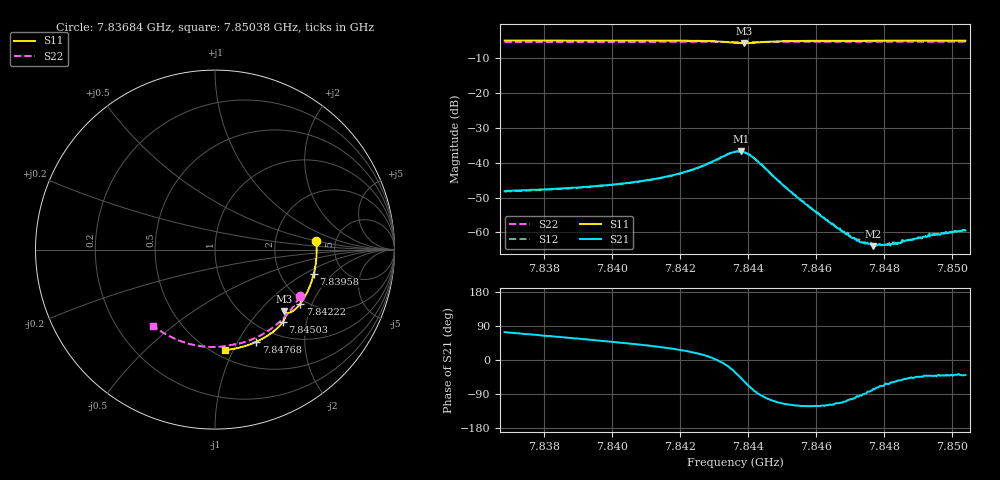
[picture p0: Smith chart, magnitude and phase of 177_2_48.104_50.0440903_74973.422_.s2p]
#  HZ  S  RI  R  50.00
! Rohde & Schwarz Vector Network Analyzer
! Rohde-Schwarz,ZNB20-2Port,1311601062101988,3.16
! Created: UTC 12/23/2023, 3:52:23 AM
! freq[Hz]  re:S11  im:S11  re:S21  im:S21  re:S12  im:S12  re:S22  im:S22
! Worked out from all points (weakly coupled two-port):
!   401 points, 7.83684 GHz to 7.85038 GHz, reference 50 ohm
!   highest |S21| = -36.70 dB at 7.84378 GHz (marker M1); lowest = -63.9 dB at 7.84768 GHz (marker M2)
!   lowest |S11| = -5.7 dB at 7.84388 GHz (marker M3), VSWR 3.14, Z = 73.8 - j69.4 ohm
!   |S11| at or under -10 dB: nowhere
!   |S22| runs from -5.4 to -5.3 dB; largest |S21 - S12| = 0.00029
!   S11 on the Smith chart (normalised r, x): 7.83684 GHz: 3.54, +0.48; 7.83958 GHz: 3.08, -1.23; 7.84222 GHz: 1.87, -1.65; 7.84503 GHz: 1.25, -1.47; 7.84768 GHz: 0.80, -1.20; 7.85038 GHz: 0.57, -0.93
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7.83684e9  0.5642 0.0465  0.0011 0.00375  0.00115 0.00369  0.4723 -0.2603
7.839109e9  0.5572 -0.1042  0.00253 0.00368  0.0025 0.00363  0.3771 -0.3868
7.839583e9  0.5505 -0.1352  0.0029 0.00366  0.00285 0.00359  0.3528 -0.4095
7.840701e9  0.5271 -0.2072  0.00396 0.00355  0.00392 0.0035  0.2901 -0.4564
7.841378e9  0.5076 -0.2497  0.00494 0.00342  0.00489 0.00343  0.249 -0.4803
7.842224e9  0.4754 -0.3011  0.00697 0.00295  0.00691 0.00297  0.1948 -0.5047
7.843105e9  0.4254 -0.347  0.0111 -0.000228  0.0112 -0.00019  0.1356 -0.5232
7.843613e9  0.39 -0.3509  0.012 -0.00754  0.0121 -0.00752  0.1016 -0.5294
7.843782e9  0.3852 -0.3463  0.00995 -0.0107  0.0098 -0.0106  0.091 -0.5313
7.843883e9  0.3854 -0.3445  0.00784 -0.0118  0.00786 -0.0118  0.0845 -0.5325
7.844053e9  0.3892 -0.3453  0.00418 -0.0122  0.00412 -0.0121  0.0736 -0.5345
7.844256e9  0.3935 -0.354  0.000633 -0.0107  0.000687 -0.0107  0.0603 -0.537
7.845035e9  0.3764 -0.4054  -0.00201 -0.00427  -0.00201 -0.00427  0.00573 -0.5425
7.845881e9  0.3343 -0.4493  -0.00115 -0.00184  -0.00113 -0.00185  -0.054 -0.5409
7.846795e9  0.2828 -0.4859  -0.000345 -0.000953  -0.000346 -0.000951  -0.1175 -0.5314
7.847236e9  0.2569 -0.5006  -9.06e-05 -0.000763  -0.000109 -0.000785  -0.1475 -0.5241
7.847405e9  0.2466 -0.506  -2.14e-06 -0.000716  4.24e-06 -0.000722  -0.1589 -0.5208
7.847676e9  0.2302 -0.5137  0.000151 -0.000617  0.000168 -0.000669  -0.1771 -0.5151
7.84815e9  0.2008 -0.5259  0.000305 -0.000604  0.000348 -0.000611  -0.2083 -0.5036
7.848353e9  0.188 -0.5307  0.000392 -0.000589  0.000421 -0.000549  -0.2215 -0.498
7.849267e9  0.1293 -0.5479  0.000651 -0.000587  0.000659 -0.00058  -0.2786 -0.469
7.850385e9  0.0563 -0.5595  0.000823 -0.00068  0.000819 -0.000679  -0.3432 -0.4249
